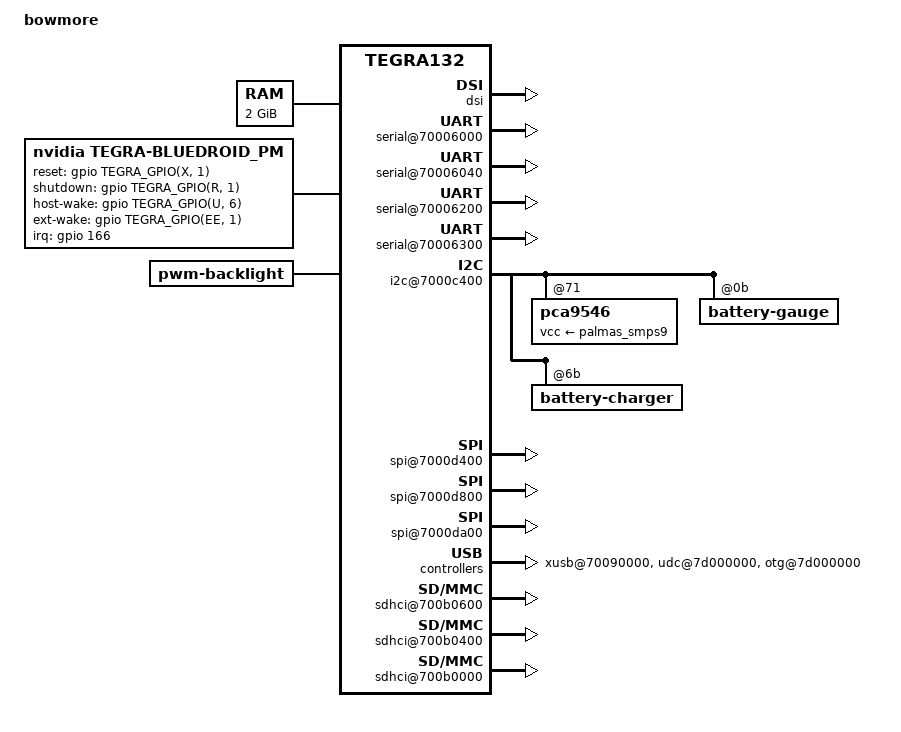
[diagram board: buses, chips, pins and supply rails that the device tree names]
/*
 * Copyright (c) 2014-2015, NVIDIA CORPORATION.  All rights reserved.
 *
 * This program is free software; you can redistribute it and/or modify
 * it under the terms of the GNU General Public License as published by
 * the Free Software Foundation; either version 2 of the License, or
 * (at your option) any later version.
 *
 * This program is distributed in the hope that it will be useful, but WITHOUT
 * ANY WARRANTY; without even the implied warranty of MERCHANTABILITY or
 * FITNESS FOR A PARTICULAR PURPOSE.  See the GNU General Public License for
 * more details.
 *
 * You should have received a copy of the GNU General Public License along
 * with this program; if not, write to the Free Software Foundation, Inc.,
 * 51 Franklin Street, Fifth Floor, Boston, MA  02110-1301, USA.
 */

/dts-v1/;

#define TEGRA132_PACKAGE_IS_MID
#include "tegra132-soc-shield.dtsi"
#include "tegra124-platforms/tegra124-tn8-keys-e1780-1100-a02.dtsi"
#include "tegra124-platforms/tegra124-tn8-power-tree-e1936-1000-a00.dtsi"
#include "tegra124-platforms/tegra124-tn8-gpio-e1780-1100-a02.dtsi"
#include "tegra124-platforms/tegra124-tn8-pinmux-e1780-1100-a02.dtsi"
#include "tegra124-platforms/tegra124-tn8-sysedp-p1761-1270-a02.dtsi"
#include "tegra124-platforms/tegra124-tn8-thermal-zone-p1761-1270-a00.dtsi"
#include "tegra132-platforms/tegra132-bowmore-powermon-e1971-1100-a00.dtsi"
#include "tegra132-tn8-dfll.dtsi"
#include "tegra132-platforms/tegra132-bowmore-sensor-e1934-1000-a00.dtsi"
#include "tegra132-platforms/tegra132-bowmore-camera-a00.dtsi"
#include "panel-a-wuxga-8-0.dtsi"
#include "panel-p-wuxga-10-1.dtsi"
#include "tegra124-platforms/tegra124-ardbeg-hdmi-e1780-1000-a00.dtsi"
#include "tegra132-platforms/tegra132-sdhci.dtsi"
#include <dt-bindings/thermal/thermal.h>
#include "tegra132-platforms/tegra132-modem-common.dtsi"

/ {
	model = "bowmore";
	compatible = "nvidia,bowmore", "nvidia,tegra132";
	nvidia,boardids = "1971:1100:00;1936:1000:00";
	nvidia,dtsfilename = __FILE__;
	nvidia,proc-boardid = "1971:1100:00";
	nvidia,pmu-boardid = "1936:1000:00";
	#address-cells = <2>;
	#size-cells = <2>;

	chosen {
		bootargs = "tegraid=40.0.0.00.00 vmalloc=256M video=tegrafb earlycon=uart8250,mmio32,0x70006300";
		stdout-path = &uartd;
		linux,initrd-start = <0x82080000>;
		linux,initrd-end = <0x824B5300>;
	};

	firmware {
		android {
			compatible = "android,firmware";
			hardware = "bowmore";
		};
	};

	host1x {
		/* tegradc.0 */
		dc@54200000 {
			status = "okay";
			nvidia,dc-flags = <TEGRA_DC_FLAG_ENABLED>;
			nvidia,emc-clk-rate = <204000000>;
			nvidia,cmu-enable = <1>;
			nvidia,low-v-win = <0x2>;
			nvidia,fb-bpp = <32>; /* bits per pixel */
			nvidia,fb-flags = <TEGRA_FB_FLIP_ON_PROBE>;
		};
		/* tegradc.1 */
		dc@54240000 {
			status = "okay";
			nvidia,dc-flags = <TEGRA_DC_FLAG_ENABLED>;
			nvidia,emc-clk-rate = <300000000>;
			nvidia,fb-bpp = <32>; /* bits per pixel */
			nvidia,fb-flags = <TEGRA_FB_FLIP_ON_PROBE>;
		};
		dsi {
			nvidia,dsi-controller-vs = <DSI_VS_1>;
			status = "okay";
			panel-a-wuxga-8-0 {
				nvidia,dsi-dpd-pads = <DSIC_DPD_EN DSID_DPD_EN>;
				nvidia,panel-rst-gpio = <&gpio TEGRA_GPIO(N, 4) 0>; /* PN4 */
				nvidia,panel-bl-pwm-gpio = <&gpio TEGRA_GPIO(H, 1) 0>; /* PH1 */
			};
			panel-p-wuxga-10-1 {
				nvidia,dsi-dpd-pads = <DSIC_DPD_EN DSID_DPD_EN>;
				nvidia,panel-rst-gpio = <&gpio TEGRA_GPIO(H, 3) 0>; /* PH3 */
				nvidia,panel-bl-pwm-gpio = <&gpio TEGRA_GPIO(H, 1) 0>; /* PH1 */
			};
		};
	};

	serial@70006000 {
		compatible = "nvidia,tegra114-hsuart";
		status = "okay";
	};

	serial@70006040 {
		compatible = "nvidia,tegra114-hsuart";
		status = "okay";
	};

	serial@70006200 {
		compatible = "nvidia,tegra114-hsuart";
		status = "okay";
	};

	serial@70006300 {
		compatible = "nvidia,tegra20-uart", "nvidia,tegra114-hsuart";
		console-port;
		sqa-automation-port;
		status = "okay";
	};

	i2c@7000c000 {
		clock-frequency = <100000>;

	};

	i2c@7000c400 {
		pca9546@71 {
			vcc-supply = <&palmas_smps9>;
		};

		battery-gauge@0b {
			dt-override-status-odm-data = <0x00C00000 0x00400000>;
		};

		battery-charger@6b {
			/delete-property/interrupt-parent;
			/delete-property/interrupts;
			charger {
				dt-override-status-odm-data = <0x00C00000 0x00400000>;
			};
		};
	};


	i2c@7000d000 {
		nvidia,bit-banging-xfer-after-shutdown;

		palmas: tps65913 {
			palams_thermal: thermal {
				status = "okay";
			};

			pmic {
				regulators {
					palmas_smps9: smps9 {
						regulator-always-on;
						regulator-boot-on;
					};
				};
			};
		};
	};

	memory@0x80000000 {
		device_type = "memory";
		reg = <0x0 0x80000000 0x0 0x80000000>;
	};

	spi@7000d400 {
		status = "okay";
		spi-max-frequency = <25000000>;
	};

	spi@7000d800 {
		status = "okay";
		spi-max-frequency = <25000000>;
	};

	spi@7000da00 {
		status = "okay";
		spi-max-frequency = <25000000>;
	};

	pmc@7000e400 {
		status = "okay";
		nvidia,invert-interrupt;
		nvidia,suspend-mode = <0>;
		nvidia,cpu-pwr-good-time = <2000>;
		nvidia,cpu-pwr-off-time = <2000>;
		nvidia,core-pwr-good-time = <3845 3845>;
		nvidia,core-pwr-off-time = <2000>;
		nvidia,core-power-req-active-high;
		nvidia,sys-clock-req-active-high;
	};

	xusb@70090000 {
		/* nvidia,uses_external_pmic;
		nvidia,gpio_controls_muxed_ss_lanes; */
		nvidia,gpio_ss1_sata = <0>;
		nvidia,portmap = <0x703>; /* SSP0, SSP1 USB2P0, USB2P1, USBP2 */
		nvidia,ss_portmap = <0x20>; /* SSP0 on USB2P0, SSP1 on USB2P2 */
		nvidia,lane_owner = <6>; /* USB3P0 USB3P1 */
		nvidia,ulpicap = <0>; /* No ulpi support. can we remove */
		/* hsic config values in order defined in structure */
		nvidia,hsic0 = /bits/8 <0x1 0x1 0x8 0xa 0 0 1 0x22 0>;
		status = "okay";
	};

	udc@7d000000 {
		nvidia,port-otg;
		nvidia,charging-supported;
		nvidia,enable-pmu-vbus-detection;
		nvidia,id-detection-type = <1>;
		extcon-cables = <&palmas_extcon 0 &palmas_extcon 1>;
		extcon-cable-names = "vbus", "id";
		#extcon-cells = <1>;
		avdd_usb-supply = <&ldousb_reg>;
		avdd_pll_utmip-supply = <&palmas_smps8>;
		status = "okay";
	};

	otg@7d000000 {
		nvidia,enable-pmu-vbus-detection;
		nvidia,id-detection-type = <1>;
		extcon-cables = <&palmas_extcon 0 &palmas_extcon 1>;
		extcon-cable-names = "vbus", "id";
		#extcon-cells = <1>;
		usb_vbus-supply = <&usb0_vbus>;
		status = "okay";
	};

	denver_cpuidle_pmic {
		type = <4>; /* TI TPS65913 2.3 */
		retention-voltage = <11>; /* vert = .55V */
		lock = <0>;
	};

	dummy_cool_dev: dummy-cool-dev {
			compatible = "dummy-cooling-dev";
			#cooling-cells = <2>; /* min followed by max */
	};

	thermal-zones {
	       PMIC-Die {
			polling-delay = <0>; /* milliseconds */
			polling-delay-passive = <0>; /* milliseconds */
			thermal-sensors = <&palams_thermal>;

			trips {
				die_temp_thresh: hot-die {
					temperature = <120000>;
					type = "active";
					hysteresis = <0>;
				};
			};

			cooling-maps {
				map0 {
					trip = <&die_temp_thresh>;
					cooling-device = <&dummy_cool_dev THERMAL_NO_LIMIT
								THERMAL_NO_LIMIT>;
					contribution = <100>;
					cdev-type = "emergency-balanced";
				};
			};
		};

		Battery {
			status = "disabled";
			polling-delay = <0>; /* milliseconds */
			polling-delay-passive = <0>; /* milliseconds */
			thermal-sensors = <&fg_lc709203f>;
			dt-override-status-odm-data = <0x00C00000 0x00400000>;
		};
	};

	psy_extcon {
		compatible = "power-supply-extcon";
		extcon-cables = <&udc 1 &udc 2 &udc 3
				&udc 4 &udc 5 &udc 6
				&udc 7 &udc 8 &udc 9
				&udc 10 &otg 0>;
		extcon-cable-names = "usb-charger", "ta-charger", "maxim-charger",
				"qc2-charger", "downstream-charger","fast-charger",
				"slow-charger", "apple-500ma", "apple-1a",
				"apple-2a", "y-cable";
	};

	bluedroid_pm {
		compatible = "nvidia,tegra-bluedroid_pm";
		id = <0>;
		bluedroid_pm,reset-gpio = <&gpio TEGRA_GPIO(X, 1) 0>;
		bluedroid_pm,shutdown-gpio = <&gpio TEGRA_GPIO(R, 1) 0>;
		bluedroid_pm,host-wake-gpio = <&gpio TEGRA_GPIO(U, 6) 0>;
		bluedroid_pm,ext-wake-gpio = <&gpio TEGRA_GPIO(EE, 1) 0>;
		interrupt-parent = <&gpio>;
		interrupts = <166 0x01>;
    };

	ehci@7d004000 {
		avdd_usb-supply = <&ldousb_reg>;
		avdd_pll_utmip-supply = <&palmas_smps8>;
		vddio_hsic-supply = <&ldo5_reg>;
		status = "disabled";
	};

	therm_est_sensor {
		subdev {
			subdev_names = "Tdiode", "Tboard";

			coeff_set@0 {
				toffset = <4034>;
				coeffs = <
					3 0 0 0 1 0 (-1) 0 1 0 0 1 1 0 0 0 0 1 2 2
					1 1 2 8 6 (-8) (-13) (-9) (-9) (-8) (-17) (-18) (-18) (-16) 2 17 15 27 42 60
				>;
			};
		};
	};

	sysedp_batmon_calc {
		dt-override-status-odm-data = <0x00C00000 0x00400000>;
	};

	backlight {
		compatible = "pwm-backlight";
		status = "okay";
	};

	sdhci@700b0600 {
		status = "okay";
	};

	sdhci@700b0400 {
		status = "okay";
	};

	sdhci@700b0000 {
		status = "okay";
	};

	cpu_edp {
		nvidia,edp_limit = <16800>;
	};
	gpu_edp {
		nvidia,edp_limit = <11200>;
	};
};
